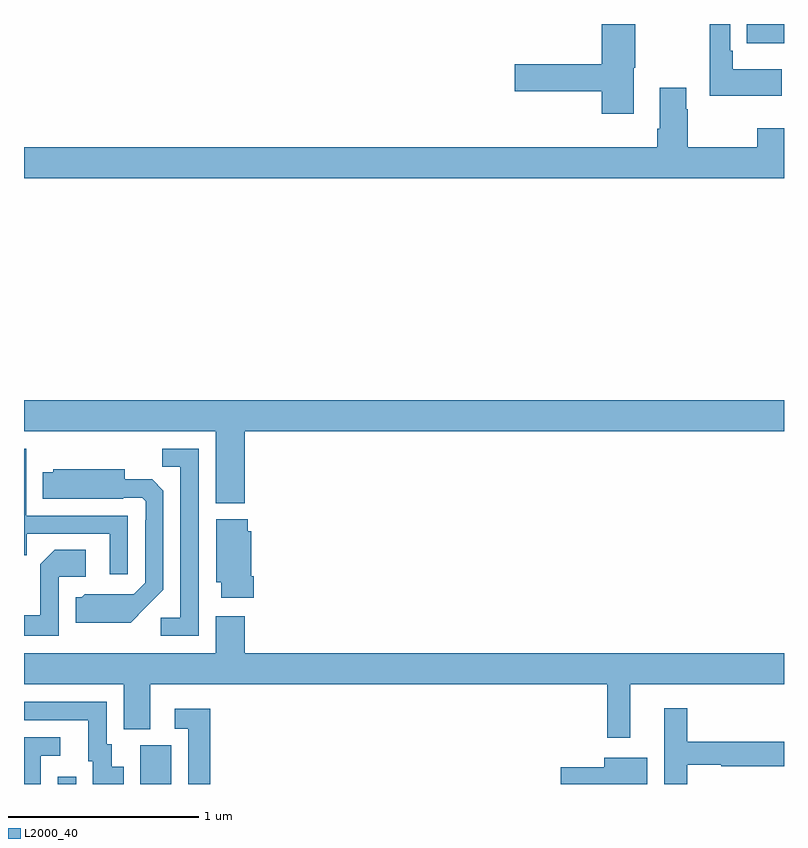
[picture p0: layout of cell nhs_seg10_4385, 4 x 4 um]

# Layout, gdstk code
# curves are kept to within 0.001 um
import gdstk
lib = gdstk.Library(unit=1e-6, precision=1e-09)
def R(c, l, rs):  # rectangles x0, y0, x1, y1
    for r in rs: c.add(gdstk.rectangle(r[:2], r[2:], *l))
def P(c, l, *ps):  # polygons
    for p in ps: c.add(gdstk.Polygon(p, *l))
L2000_40 = (2000, 40)

nhs_seg10_4385 = lib.new_cell('nhs_seg10_4385')
R(nhs_seg10_4385, L2000_40, [(359.178,1258.5,359.274,1258.537), (359.612,1258.5,359.776,1258.704), (362.803,1262.399,363,1262.5)])
P(nhs_seg10_4385, L2000_40, [(362.987,1262.263),(362.731,1262.263),(362.731,1262.359),(362.718,1262.359),(362.718,1262.5),(362.61,1262.5),(362.61,1262.123),(362.987,1262.123)],
  [(362.209,1262.271),(362.217,1262.271),(362.217,1262.5),(362.042,1262.5),(362.042,1262.288),(361.584,1262.288),(361.584,1262.146),(362.042,1262.146),(362.042,1262.028),(362.209,1262.028)],
  [(363,1261.951),(362.86,1261.951),(362.86,1261.852),(362.493,1261.852),(362.493,1262.051),(362.485,1262.051),(362.485,1262.164),(362.345,1262.164),(362.345,1261.948),(362.333,1261.948),(362.333,1261.852),(359,1261.852),(359,1261.688),(363,1261.688)],
  [(360.161,1260.356),(363,1260.356),(363,1260.52),(359,1260.52),(359,1260.356),(360.008,1260.356),(360.008,1259.978),(360.161,1259.978)],
  [(359.919,1260.264),(359.728,1260.264),(359.728,1260.169),(359.823,1260.169),(359.823,1259.376),(359.721,1259.376),(359.721,1259.28),(359.919,1259.28)],
  [(359.547,1259.913),(359.013,1259.913),(359.013,1260.264),(359,1260.264),(359,1259.704),(359.015,1259.704),(359.015,1259.817),(359.451,1259.817),(359.451,1259.604),(359.547,1259.604)],
  [(359.641,1259.429),(359.733,1259.522),(359.733,1260.044),(359.674,1260.103),(359.53,1260.103),(359.53,1260.157),(359.154,1260.157),(359.154,1260.142),(359.098,1260.142),(359.098,1260.002),(359.522,1260.002),(359.522,1260.006),(359.622,1260.006),(359.64,1259.988),(359.64,1259.888),(359.637,1259.888),(359.637,1259.559),(359.577,1259.499),(359.32,1259.5),(359.304,1259.484),(359.273,1259.484),(359.273,1259.348),(359.561,1259.348)],
  [(360.209,1259.593),(360.196,1259.593),(360.196,1259.829),(360.178,1259.829),(360.178,1259.893),(360.011,1259.893),(360.011,1259.562),(360.038,1259.562),(360.038,1259.481),(360.209,1259.481)],
  [(359.184,1259.592),(359.326,1259.592),(359.326,1259.732),(359.161,1259.732),(359.085,1259.656),(359.085,1259.389),(359,1259.389),(359,1259.28),(359.184,1259.28)],
  [(362.191,1259.024),(363,1259.024),(363,1259.188),(360.161,1259.188),(360.161,1259.383),(360.008,1259.383),(360.008,1259.188),(359,1259.188),(359,1259.024),(359.525,1259.024),(359.525,1258.789),(359.665,1258.789),(359.665,1259.024),(362.07,1259.024),(362.07,1258.743),(362.191,1258.743)],
  [(359.524,1258.591),(359.461,1258.591),(359.461,1258.71),(359.436,1258.71),(359.436,1258.932),(359,1258.932),(359,1258.836),(359.339,1258.836),(359.339,1258.62),(359.363,1258.62),(359.363,1258.5),(359.524,1258.5)],
  [(362.491,1258.602),(362.669,1258.602),(362.669,1258.594),(363,1258.594),(363,1258.723),(362.491,1258.723),(362.491,1258.9),(362.369,1258.9),(362.369,1258.5),(362.491,1258.5)],
  [(359.981,1258.897),(359.793,1258.897),(359.793,1258.791),(359.865,1258.791),(359.865,1258.5),(359.981,1258.5)],
  [(359.088,1258.65),(359.191,1258.65),(359.191,1258.746),(359,1258.746),(359,1258.5),(359.088,1258.5)],
  [(362.281,1258.639),(362.054,1258.639),(362.054,1258.587),(361.824,1258.587),(361.824,1258.5),(362.281,1258.5)])

lib.write_gds('nhs_seg10_4385.gds')
